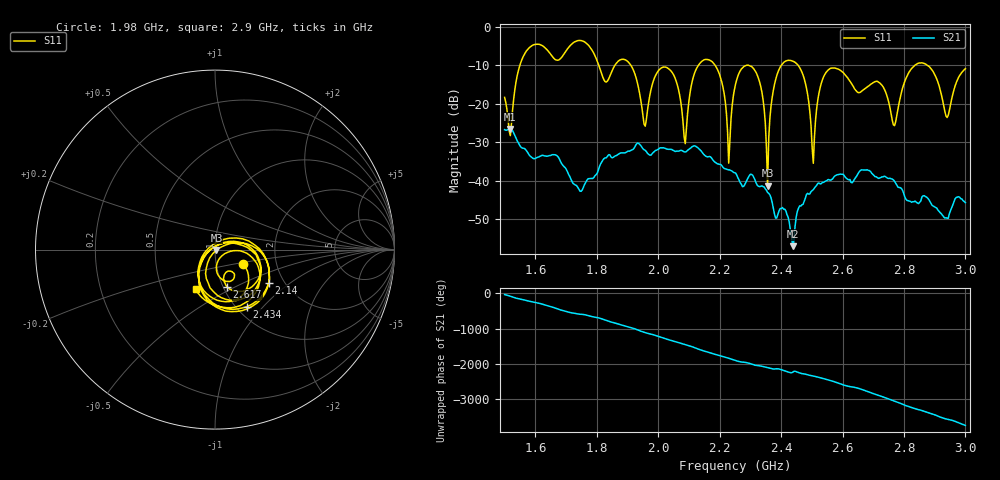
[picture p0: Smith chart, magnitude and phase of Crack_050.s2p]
# HZ S RI R 50
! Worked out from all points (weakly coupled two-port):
!   404 points, 1.5 GHz to 3 GHz, reference 50 ohm
!   highest |S21| = -26.52 dB at 1.519 GHz (marker M1); lowest = -57.1 dB at 2.438 GHz (marker M2)
!   lowest |S11| = -41.3 dB at 2.356 GHz (marker M3), VSWR 1.02, Z = 50.8 - j0.233 ohm
!   |S11| at or under -10 dB: 1.911 GHz to 2.131 GHz (219.4 MHz wide, 10.9 % of centre); 2.456 GHz to 2.835 GHz (379.4 MHz wide, 14.3 % of centre); 2.877 GHz to end of sweep (the widest 3 of 7)
!   S12 and S22 are empty: the file has one direction only
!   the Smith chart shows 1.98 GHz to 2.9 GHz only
!   S11 on the Smith chart (normalised r, x): 1.98 GHz: 1.35, -0.22; 2.14 GHz: 1.67, -0.70; 2.434 GHz: 1.12, -0.82; 2.617 GHz: 1.04, -0.45; 2.9 GHz: 0.74, -0.34
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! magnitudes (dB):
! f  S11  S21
! 1.5 GHz  -18.3  -26.7
! 1.519 GHz  -28.3  -26.5
! 1.574 GHz  -5.9  -32.6
! 1.753 GHz  -3.6  -42.4
! 1.954 GHz  -25.3  -32.0
! 1.98 GHz  -15.1  -33.0
! 2.002 GHz  -11.2  -31.7
! 2.088 GHz  -30.4  -32.5
! 2.14 GHz  -9.1  -32.3
! 2.23 GHz  -35.4  -37.2
! 2.252 GHz  -14.9  -38.0
! 2.315 GHz  -11.4  -39.8
! 2.356 GHz  -41.3  -43.1
! 2.434 GHz  -8.8  -54.7
! 2.438 GHz  -8.9  -57.1
! 2.501 GHz  -31.5  -42.6
! 2.546 GHz  -11.9  -40.1
! 2.617 GHz  -13.2  -39.6
! 2.751 GHz  -19.6  -39.4
! 2.9 GHz  -12.3  -46.9
! 2.94 GHz  -23.6  -49.8
! 3 GHz  -10.9  -45.7
